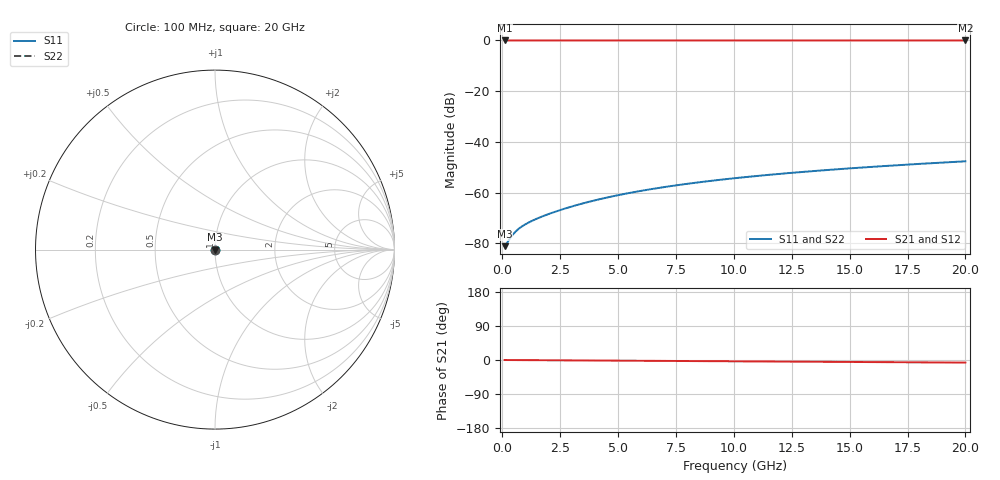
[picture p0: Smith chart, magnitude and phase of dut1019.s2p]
! Touchstone file exported from HFSS 2026.1.0
!  File:  C:/ffzhzh/LocalFiles/Ansys_Project_Files/temp_train_TSV_1019_1783188809_51560.aedt
!  Generated:  02:15:01 AM Jul  5, 2026
!  Design:  TSV
!  Project:  temp_train_TSV_1019_1783188809_51560
! Variables:
!  h_bsmrdl = 2um
!  h_ox = 20um
!  h_rdl = 5um
!  h_sub = 66.83um
!  h_tmrdl = 5um
!  h_tsv = 66.83um
!  h_via = 3um
!  l_bsmrdl = 300um
!  l_sub = 423.88um
!  l_tmrdl = 200um
!  m_sub = 200um
!  pitch = 45.99um
!  r_tsv = 11.94um
!  s_tmrdl = 10um
!  w_bsmrdl = 18um
!  w_sub = 500um
!  w_tmrdl = 12um
!  x_tsv_center1 = 206um
!  x_tsv_center2 = 524um
!  x_tsv_center3 = 736um
!  x_tsv_center4 = 1054um
!  x_tsv_center5 = 1266um
!  x_tsv_center6 = 1584um
# GHz S MA R 50.000000
! Terminal data exported
! Port[1] = TSV1_1_T1
! Port[2] = TSV1_1_T2
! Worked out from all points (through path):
!   200 points, 100 MHz to 20 GHz, reference 50 ohm
!   highest |S21| = 0.00 dB at 100 MHz (marker M1); lowest = 0.0 dB at 20 GHz (marker M2)
!   lowest |S11| = -81.1 dB at 100 MHz (marker M3), VSWR 1.00, Z = 50 + j0.0016 ohm
!   |S11| at or under -10 dB: start of sweep to end of sweep
!   |S22| runs from -81.1 to -47.6 dB; largest |S21 - S12| = 6.1e-15
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0.1  8.826e-05 10.4  0.9999 -0.0  0.9999 -0.0  8.826e-05 10.4
! Gamma 0 0 0 0
! Port Impedance 50 0 50 0
0.2  0.0001018 16.7  0.9999 -0.1  0.9999 -0.1  0.0001018 16.7
0.4  0.0001388 17.4  0.9999 -0.1  0.9999 -0.1  0.0001388 17.4
0.5  0.0001577 14.6  0.9998 -0.2  0.9998 -0.2  0.0001577 14.6
0.6  0.0001757 11.0  0.9998 -0.2  0.9998 -0.2  0.0001757 11.0
0.7  0.0001927 7.0  0.9998 -0.2  0.9998 -0.2  0.0001927 7.0
0.9  0.000224 -1.0  0.9998 -0.3  0.9998 -0.3  0.000224 -1.0
1.2  0.000267 -11.6  0.9997 -0.4  0.9997 -0.4  0.000267 -11.6
1.6  0.0003224 -22.9  0.9997 -0.6  0.9997 -0.6  0.0003224 -22.9
2.2  0.0004088 -34.8  0.9997 -0.8  0.9997 -0.8  0.0004088 -34.8
2.8  0.0005019 -42.8  0.9996 -1.0  0.9996 -1.0  0.0005019 -42.8
3.5  0.0006187 -49.3  0.9996 -1.2  0.9996 -1.2  0.0006187 -49.3
4.2  0.0007431 -54.1  0.9995 -1.5  0.9995 -1.5  0.0007431 -54.1
5  0.0008928 -58.2  0.9995 -1.7  0.9995 -1.7  0.0008929 -58.2
5.9  0.001069 -61.8  0.9995 -2.0  0.9995 -2.0  0.001069 -61.8
6.8  0.00125 -64.7  0.9994 -2.3  0.9994 -2.3  0.00125 -64.7
8.4  0.001582 -68.8  0.9994 -2.9  0.9994 -2.9  0.001582 -68.8
10.1  0.001943 -72.1  0.9993 -3.5  0.9993 -3.5  0.001943 -72.1
11.7  0.002288 -74.7  0.9992 -4.0  0.9992 -4.0  0.002288 -74.7
13.4  0.002659 -76.9  0.9992 -4.6  0.9992 -4.6  0.00266 -76.9
16.7  0.003395 -80.3  0.9991 -5.7  0.9991 -5.7  0.003395 -80.3
20  0.004154 -82.9  0.999 -6.9  0.999 -6.9  0.004154 -82.9
